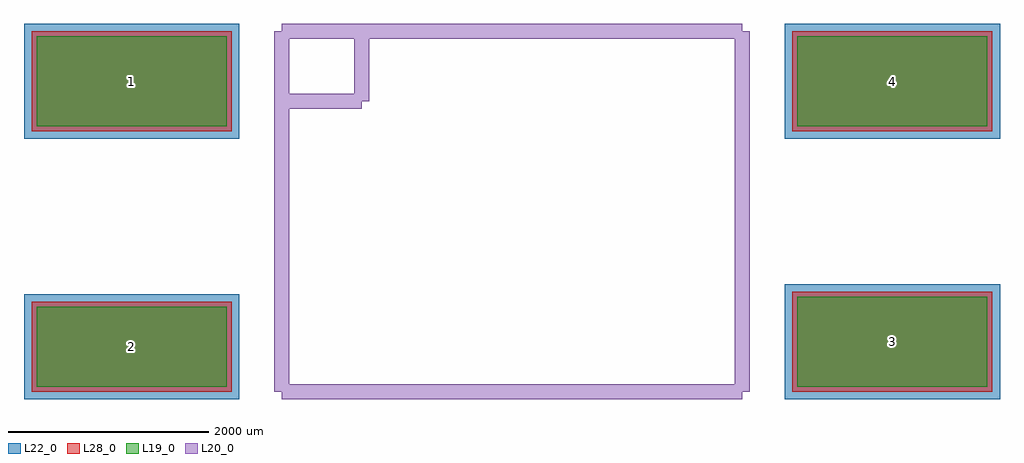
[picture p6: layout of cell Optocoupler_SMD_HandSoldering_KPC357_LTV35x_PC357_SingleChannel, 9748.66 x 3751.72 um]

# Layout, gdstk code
import gdstk
lib = gdstk.Library(unit=1e-6, precision=1e-09)
def R(c, l, rs):  # rectangles x0, y0, x1, y1
    for r in rs: c.add(gdstk.rectangle(r[:2], r[2:], *l))
L19_0 = (19, 0)
L20_0 = (20, 0)
L22_0 = (22, 0)
L28_0 = (28, 0)

optocoupler_smd_handsold = lib.new_cell('Optocoupler_SMD_HandSoldering_KPC357_LTV35x_PC357_SingleChannel')
R(optocoupler_smd_handsold, L19_0, [(2850.35,-1750.86,4749.33,-850.1), (-4749.33,-1748.32,-2850.35,-949.16), (-4749.33,850.1,-2850.35,1750.86), (2850.35,850.1,4749.33,1750.86)])
R(optocoupler_smd_handsold, L22_0, [(2725.35,-1875.86,4874.33,-725.1), (-4874.33,-1873.32,-2725.35,-824.16), (-4874.33,725.1,-2725.35,1875.86), (2725.35,725.1,4874.33,1875.86)])
R(optocoupler_smd_handsold, L28_0, [(2800.35,-1800.86,4799.33,-800.1), (-4799.33,-1798.32,-2800.35,-899.16), (-4799.33,800.1,-2800.35,1800.86), (2800.35,800.1,4799.33,1800.86)])
optocoupler_smd_handsold.add(gdstk.FlexPath([(2301.24,-1800.86),(2301.24,1800.86)], 149.998, ends="flush", simple_path=True, layer=20, datatype=0))  # L20_0
optocoupler_smd_handsold.add(gdstk.FlexPath([(-2301.24,-1800.86),(2301.24,-1800.86)], 149.998, ends="flush", simple_path=True, layer=20, datatype=0))  # L20_0
optocoupler_smd_handsold.add(gdstk.FlexPath([(-2301.24,1800.86),(-2301.24,-1800.86)], 149.998, ends="flush", simple_path=True, layer=20, datatype=0))  # L20_0
optocoupler_smd_handsold.add(gdstk.FlexPath([(2301.24,1800.86),(-2301.24,1800.86)], 149.998, ends="flush", simple_path=True, layer=20, datatype=0))  # L20_0
optocoupler_smd_handsold.add(gdstk.FlexPath([(-1501.14,1099.82),(-2301.24,1099.82)], 149.998, ends="flush", simple_path=True, layer=20, datatype=0))  # L20_0
optocoupler_smd_handsold.add(gdstk.FlexPath([(-1501.14,1800.86),(-1501.14,1099.82)], 149.998, ends="flush", simple_path=True, layer=20, datatype=0))  # L20_0
optocoupler_smd_handsold.add(gdstk.Label('3', (3799.84,-1300.48), layer=28, texttype=0))
optocoupler_smd_handsold.add(gdstk.Label('4', (3799.84,1300.48), layer=28, texttype=0))
optocoupler_smd_handsold.add(gdstk.Label('1', (-3799.84,1300.48), layer=28, texttype=0))
optocoupler_smd_handsold.add(gdstk.Label('2', (-3799.84,-1348.74), layer=28, texttype=0))
optocoupler_smd_handsold.add(gdstk.Label('type', (1270,-3810), layer=9, texttype=0))
optocoupler_smd_handsold.add(gdstk.Label('devicename', (0,3810), layer=9, texttype=0))

lib.write_gds('Optocoupler_SMD_HandSoldering_KPC357_LTV35x_PC357_SingleChannel.gds')
